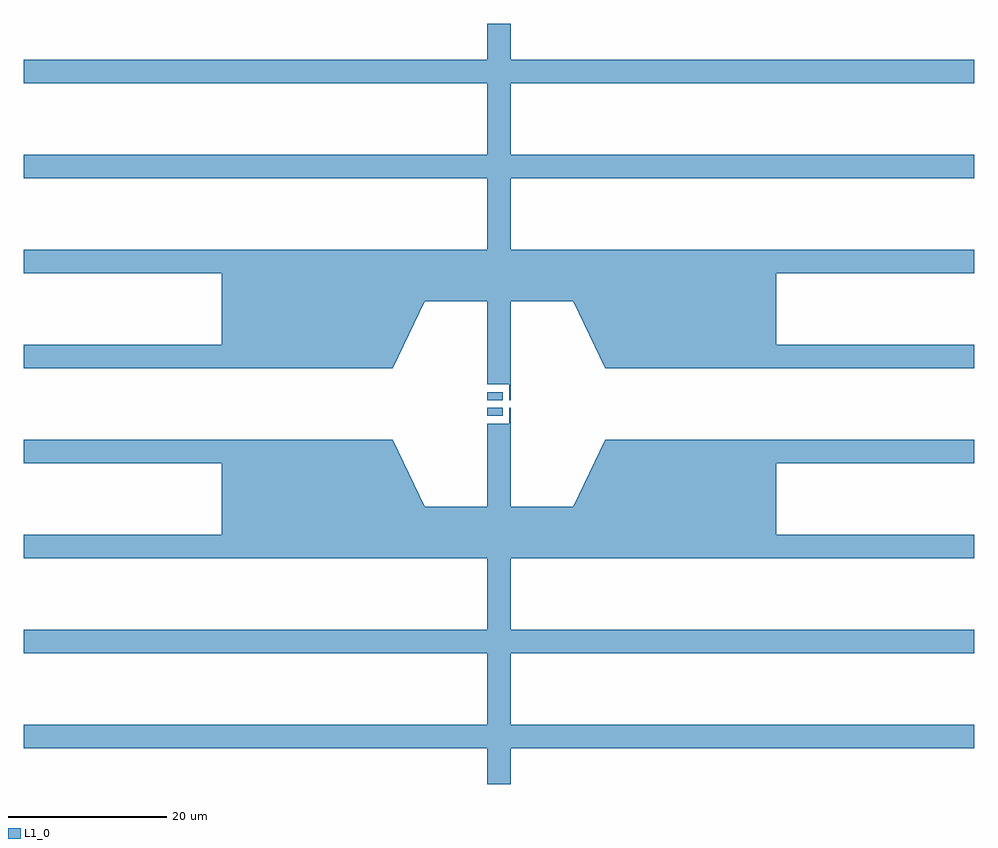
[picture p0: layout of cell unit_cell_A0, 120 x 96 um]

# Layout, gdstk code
from math import pi, radians
import gdstk
lib = gdstk.Library(unit=1e-6, precision=1e-09)
def R(c, l, rs):  # rectangles x0, y0, x1, y1
    for r in rs: c.add(gdstk.rectangle(r[:2], r[2:], *l))
def P(c, l, *ps):  # polygons
    for p in ps: c.add(gdstk.Polygon(p, *l))
L1_0 = (1, 0)

unnamed_941 = lib.new_cell('Unnamed_941')
P(unnamed_941, L1_0, [(58.5,0),(58.5,4.5),(0,4.5),(0,7.5),(58.5,7.5),(58.5,16.5),(0,16.5),(0,19.5),(58.5,19.5),(58.5,28.5),(0,28.5),(0,31.5),(25,31.5),(25,40.5),(0,40.5),(0,43.5),(46.597,43.5),(50.596,35),(58.5,35),(58.5,45.5),(60,45.5),(60,0)])

unnamed_942 = lib.new_cell('Unnamed_942')
unnamed_942.add(gdstk.Reference(unnamed_941, (0,0)))

rectangle_s2_1_lwg_cfal_ = lib.new_cell('rectangle_S2_1_LWG_CFal_a0a9c26d')
R(rectangle_s2_1_lwg_cfal_, L1_0, [(0,0,2,1)])

rectangle_s0p2_2_lwg_cf_ = lib.new_cell('rectangle_S0p2_2_LWG_CF_9ef6d549')
R(rectangle_s0p2_2_lwg_cf_, L1_0, [(0,0,0.2,2)])

unnamed_943 = lib.new_cell('Unnamed_943')
unnamed_943.add(gdstk.Reference(rectangle_s2_1_lwg_cfal_, (0,-1.5)))
unnamed_943.add(gdstk.Reference(rectangle_s0p2_2_lwg_cf_, (2.8,-2.5)))

unit_cell_a0 = lib.new_cell('unit_cell_A0')
unit_cell_a0.add(gdstk.Reference(unnamed_942, (0,0)))
unit_cell_a0.add(gdstk.Reference(unnamed_942, (120,0), rotation=pi, x_reflection=True))
unit_cell_a0.add(gdstk.Reference(unnamed_942, (0,96), x_reflection=True))
unit_cell_a0.add(gdstk.Reference(unnamed_942, (120,96), rotation=pi))
unit_cell_a0.add(gdstk.Reference(unnamed_943, (58.5,48)))
unit_cell_a0.add(gdstk.Reference(unnamed_943, (58.5,48), x_reflection=True))

lib.write_gds('unit_cell_A0.gds')
